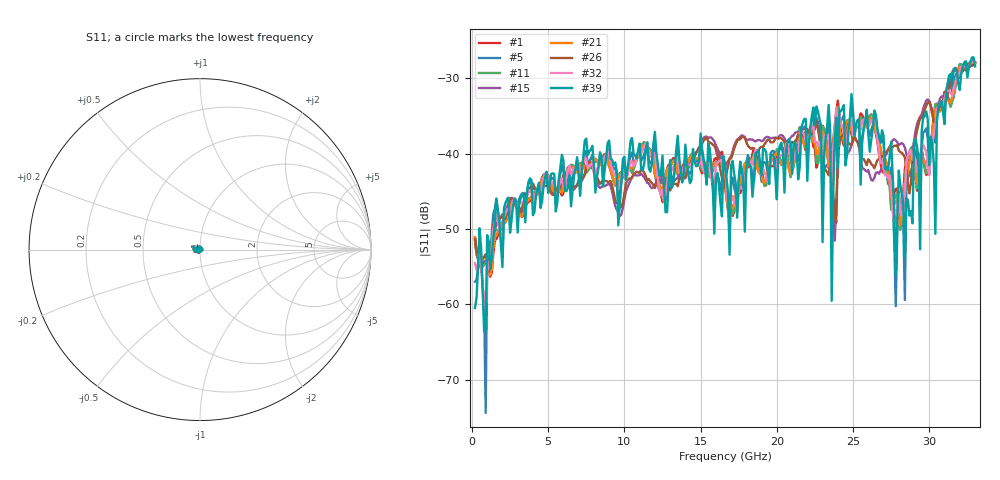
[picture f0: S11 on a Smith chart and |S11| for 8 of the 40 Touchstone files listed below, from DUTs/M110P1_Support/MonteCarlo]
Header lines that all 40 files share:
# GHZ S RI R 50
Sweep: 200 MHz to 33 GHz
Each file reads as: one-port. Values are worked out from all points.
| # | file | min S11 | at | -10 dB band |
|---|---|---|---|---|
| 1 | M110P1_2.s2p | -56.3 dB | 1.2 GHz | over 32.8 GHz wide |
| 2 | M110P1_3.s2p | -57.0 dB | 1.1 GHz | over 32.8 GHz wide |
| 3 | M110P1_6.s2p | -55.8 dB | 1.1 GHz | over 32.8 GHz wide |
| 4 | M110P1_9.s2p | -56.9 dB | 1.1 GHz | over 32.8 GHz wide |
| 5 | M110P1_10.s2p | -74.4 dB | 900 MHz | over 32.8 GHz wide |
| 6 | M110P1_12.s2p | -57.1 dB | 1.1 GHz | over 32.8 GHz wide |
| 7 | M110P1_13.s2p | -61.0 dB | 28.7 GHz | over 32.8 GHz wide |
| 8 | M110P1_16.s2p | -55.8 dB | 1.1 GHz | over 32.8 GHz wide |
| 9 | M110P1_20.s2p | -56.6 dB | 1.1 GHz | over 32.8 GHz wide |
| 10 | M110P1_21.s2p | -59.8 dB | 900 MHz | over 32.8 GHz wide |
| 11 | M110P1_22.s2p | -55.9 dB | 1.1 GHz | over 32.8 GHz wide |
| 12 | M110P1_23.s2p | -55.5 dB | 1.1 GHz | over 32.8 GHz wide |
| 13 | M110P1_24.s2p | -56.2 dB | 500 MHz | over 32.8 GHz wide |
| 14 | M110P1_25.s2p | -56.8 dB | 900 MHz | over 32.8 GHz wide |
| 15 | M110P1_26.s2p | -56.0 dB | 1.1 GHz | over 32.8 GHz wide |
| 16 | M110P1_27.s2p | -71.7 dB | 900 MHz | over 32.8 GHz wide |
| 17 | M110P1_28.s2p | -57.2 dB | 900 MHz | over 32.8 GHz wide |
| 18 | M110P1_31.s2p | -71.9 dB | 900 MHz | over 32.8 GHz wide |
| 19 | M110P1_32.s2p | -56.0 dB | 1.1 GHz | over 32.8 GHz wide |
| 20 | M110P1_34.s2p | -55.6 dB | 1.1 GHz | over 32.8 GHz wide |
| 21 | M110P1_35.s2p | -56.1 dB | 1.2 GHz | over 32.8 GHz wide |
| 22 | M110P1_37.s2p | -55.8 dB | 500 MHz | over 32.8 GHz wide |
| 23 | M110P1_38.s2p | -57.0 dB | 1.1 GHz | over 32.8 GHz wide |
| 24 | M110P1_39.s2p | -55.9 dB | 500 MHz | over 32.8 GHz wide |
| 25 | M110P1_42.s2p | -56.2 dB | 1.2 GHz | over 32.8 GHz wide |
| 26 | M110P1_45.s2p | -55.7 dB | 1.1 GHz | over 32.8 GHz wide |
| 27 | M110P1_46.s2p | -68.3 dB | 900 MHz | over 32.8 GHz wide |
| 28 | M110P1_48.s2p | -55.6 dB | 1.1 GHz | over 32.8 GHz wide |
| 29 | M110P1_50.s2p | -56.7 dB | 500 MHz | over 32.8 GHz wide |
| 30 | M110P1_52.s2p | -58.0 dB | 28.8 GHz | over 32.8 GHz wide |
| 31 | M110P1_54.s2p | -58.6 dB | 900 MHz | over 32.8 GHz wide |
| 32 | M110P1_56.s2p | -61.3 dB | 900 MHz | over 32.8 GHz wide |
| 33 | M110P1_58.s2p | -57.7 dB | 1.1 GHz | over 32.8 GHz wide |
| 34 | M110P1_68.s2p | -56.6 dB | 1.2 GHz | over 32.8 GHz wide |
| 35 | M110P1_70.s2p | -57.0 dB | 1.1 GHz | over 32.8 GHz wide |
| 36 | M110P1_71.s2p | -56.1 dB | 1.1 GHz | over 32.8 GHz wide |
| 37 | M110P1_73.s2p | -55.8 dB | 500 MHz | over 32.8 GHz wide |
| 38 | M110P1_74.s2p | -56.7 dB | 1.1 GHz | over 32.8 GHz wide |
| 39 | M110P1_75.s2p | -63.6 dB | 800 MHz | over 32.8 GHz wide |
| 40 | M110P1_77.s2p | -56.6 dB | 1.2 GHz | over 32.8 GHz wide |
